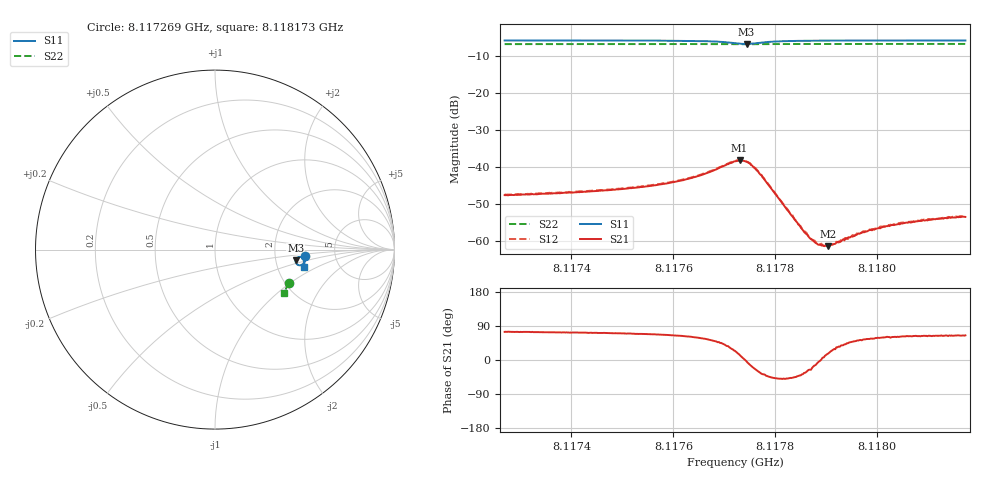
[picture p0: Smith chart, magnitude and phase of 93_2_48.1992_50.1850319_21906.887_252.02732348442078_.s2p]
#  HZ  S  RI  R  50.00
! Rohde & Schwarz Vector Network Analyzer
! Rohde-Schwarz,ZNB20-2Port,1311601062101988,3.16
! Created: UTC 3/20/2024, 11:40:10 AM
! freq[Hz]  re:S11  im:S11  re:S21  im:S21  re:S12  im:S12  re:S22  im:S22
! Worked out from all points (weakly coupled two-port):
!   401 points, 8.117269 GHz to 8.118173 GHz, reference 50 ohm
!   highest |S21| = -38.25 dB at 8.11773 GHz (marker M1); lowest = -61.4 dB at 8.117904 GHz (marker M2)
!   lowest |S11| = -6.9 dB at 8.117744 GHz (marker M3), VSWR 2.66, Z = 130 - j19.2 ohm
!   |S11| at or under -10 dB: nowhere
!   |S22| runs from -6.9 to -6.9 dB; largest |S21 - S12| = 0.0004
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8.1172687e9  0.5042 -0.0384  0.00113 0.004  0.00115 0.00405  0.4108 -0.1871
8.1174202e9  0.5023 -0.0516  0.0014 0.00436  0.00151 0.00443  0.4066 -0.197
8.1174994e9  0.5007 -0.0592  0.0017 0.00473  0.00178 0.00482  0.4043 -0.2021
8.1175718e9  0.4982 -0.0676  0.00224 0.00531  0.00231 0.00539  0.402 -0.2067
8.1176147e9  0.4952 -0.0737  0.00288 0.00583  0.00302 0.00592  0.4007 -0.2097
8.1176464e9  0.4912 -0.0792  0.00379 0.00637  0.00397 0.00644  0.3994 -0.2117
8.1177211e9  0.4571 -0.0821  0.0108 0.00482  0.0111 0.00483  0.3959 -0.2158
8.1177301e9  0.4512 -0.0747  0.0119 0.00289  0.0121 0.00277  0.3954 -0.2161
8.1177437e9  0.4493 -0.0588  0.0117 -0.000747  0.0117 -0.000839  0.395 -0.2161
8.117755e9  0.456 -0.0472  0.00987 -0.00325  0.00992 -0.0034  0.3951 -0.2164
8.1177686e9  0.4679 -0.0409  0.00698 -0.00432  0.00701 -0.00454  0.3955 -0.217
8.1178545e9  0.4967 -0.0595  0.00111 -0.000843  0.00118 -0.000872  0.3938 -0.2233
8.1178681e9  0.4973 -0.0619  0.000985 -0.000468  0.000993 -0.00049  0.3935 -0.2242
8.1178726e9  0.4974 -0.0628  0.000972 -0.000363  0.00098 -0.000349  0.3933 -0.2244
8.1178862e9  0.4978 -0.065  0.000888 -5.54e-05  0.000888 -0.000102  0.3929 -0.2256
8.1178975e9  0.4981 -0.0669  0.000838 0.00016  0.000855 0.000117  0.3926 -0.2262
8.1179043e9  0.4982 -0.0678  0.000813 0.000254  0.000821 0.00026  0.3923 -0.2267
8.1179133e9  0.4983 -0.069  0.0008 0.000412  0.000833 0.000342  0.3921 -0.2272
8.1179676e9  0.4983 -0.0758  0.000767 0.00102  0.000784 0.00101  0.3903 -0.2307
8.1180242e9  0.4978 -0.0817  0.000781 0.00138  0.000827 0.00142  0.3883 -0.2343
8.1180875e9  0.497 -0.0877  0.000831 0.00167  0.000866 0.00173  0.3861 -0.2381
8.1181735e9  0.496 -0.0952  0.000892 0.00191  0.000919 0.002  0.383 -0.2434
